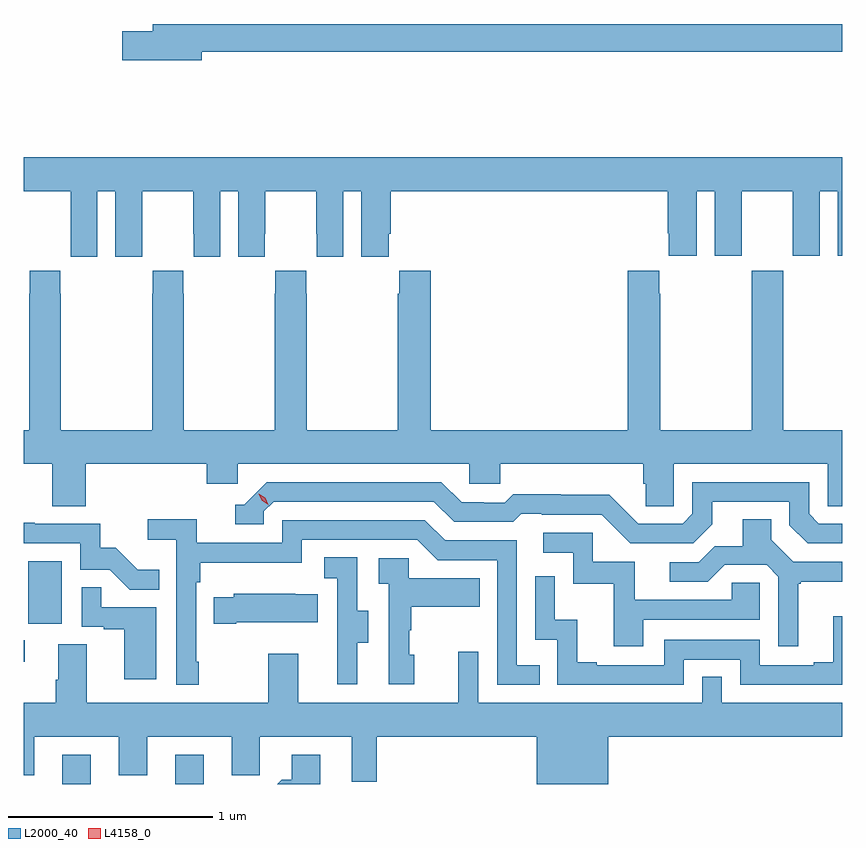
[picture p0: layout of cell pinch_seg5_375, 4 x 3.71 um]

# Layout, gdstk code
import gdstk
lib = gdstk.Library(unit=1e-6, precision=1e-09)
def R(c, l, rs):  # rectangles x0, y0, x1, y1
    for r in rs: c.add(gdstk.rectangle(r[:2], r[2:], *l))
def P(c, l, *ps):  # polygons
    for p in ps: c.add(gdstk.Polygon(p, *l))
L2000_40 = (2000, 40)
L4158_0 = (4158, 0)

pinch_seg5_375 = lib.new_cell('pinch_seg5_375')
R(pinch_seg5_375, L2000_40, [(995.543,877.84,995.683,877.984), (996.095,877.84,996.235,877.984), (995.355,878.436,995.362,878.541), (995.378,878.622,995.542,878.929)])
P(pinch_seg5_375, L2000_40, [(996.226,881.416),(999.355,881.416),(999.355,881.552),(995.987,881.552),(995.987,881.516),(995.838,881.516),(995.838,881.374),(996.226,881.374)],
  [(995.716,880.736),(995.804,880.736),(995.804,880.416),(995.934,880.416),(995.934,880.528),(995.935,880.528),(995.935,880.736),(996.185,880.736),(996.185,880.528),(996.186,880.528),(996.186,880.416),(996.316,880.416),(996.316,880.736),(996.404,880.736),(996.404,880.416),(996.534,880.416),(996.534,880.528),(996.535,880.528),(996.535,880.736),(996.785,880.736),(996.785,880.528),(996.786,880.528),(996.786,880.416),(996.916,880.416),(996.916,880.736),(997.004,880.736),(997.004,880.416),(997.138,880.416),(997.138,880.528),(997.148,880.528),(997.148,880.736),(998.501,880.736),(998.501,880.531),(998.507,880.531),(998.507,880.419),(998.644,880.419),(998.644,880.736),(998.732,880.736),(998.732,880.419),(998.863,880.419),(998.863,880.736),(999.113,880.736),(999.113,880.419),(999.244,880.419),(999.244,880.736),(999.332,880.736),(999.332,880.419),(999.355,880.419),(999.355,880.9),(995.355,880.9),(995.355,880.736),(995.585,880.736),(995.585,880.528),(995.586,880.528),(995.586,880.416),(995.716,880.416)],
  [(995.66,879.404),(996.251,879.404),(996.251,879.306),(996.402,879.306),(996.402,879.404),(997.533,879.404),(997.533,879.306),(997.683,879.306),(997.683,879.404),(998.381,879.404),(998.381,879.306),(998.395,879.306),(998.395,879.196),(998.532,879.196),(998.532,879.404),(999.282,879.404),(999.282,879.196),(999.355,879.196),(999.355,879.568),(999.066,879.568),(999.066,880.348),(998.911,880.348),(998.911,879.568),(998.466,879.568),(998.466,880.235),(998.461,880.235),(998.461,880.348),(998.306,880.348),(998.306,879.568),(997.343,879.568),(997.343,880.348),(997.189,880.348),(997.189,880.235),(997.183,880.235),(997.183,879.568),(996.738,879.568),(996.738,880.235),(996.735,880.235),(996.735,880.348),(996.585,880.348),(996.585,880.235),(996.583,880.235),(996.583,879.568),(996.138,879.568),(996.138,880.235),(996.135,880.235),(996.135,880.348),(995.985,880.348),(995.985,880.235),(995.983,880.235),(995.983,879.568),(995.538,879.568),(995.538,880.235),(995.535,880.235),(995.535,880.348),(995.385,880.348),(995.385,880.235),(995.383,880.235),(995.383,879.568),(995.355,879.568),(995.355,879.404),(995.495,879.404),(995.495,879.196),(995.66,879.196)],
  [(998.719,879.109),(998.719,879.219),(999.096,879.219),(999.096,879.105),(999.186,879.015),(999.355,879.015),(999.355,879.111),(999.24,879.111),(999.192,879.159),(999.192,879.315),(998.622,879.315),(998.622,879.159),(998.574,879.111),(998.358,879.111),(998.216,879.253),(997.98,879.253),(997.98,879.256),(997.747,879.256),(997.705,879.213),(997.602,879.213),(997.602,879.216),(997.495,879.216),(997.396,879.315),(996.543,879.315),(996.432,879.204),(996.389,879.204),(996.389,879.108),(996.528,879.108),(996.528,879.171),(996.576,879.219),(997.359,879.219),(997.458,879.12),(997.747,879.12),(997.786,879.159),(997.885,879.159),(997.885,879.156),(998.178,879.156),(998.319,879.015),(998.625,879.015)],
  [(996.211,878.437),(996.198,878.437),(996.198,878.825),(996.218,878.825),(996.218,878.921),(996.714,878.921),(996.714,879.033),(997.278,879.033),(997.377,878.934),(997.668,878.934),(997.668,878.325),(997.877,878.325),(997.877,878.421),(997.764,878.421),(997.764,879.03),(997.414,879.03),(997.315,879.129),(996.618,879.129),(996.618,879.018),(996.2,879.018),(996.2,879.134),(995.961,879.134),(995.961,879.032),(996.102,879.032),(996.102,878.325),(996.211,878.325)],
  [(999.139,878.817),(999.151,878.817),(999.151,878.828),(999.355,878.828),(999.355,878.925),(999.114,878.925),(999.007,879.032),(999.007,879.134),(998.867,879.134),(998.867,879.002),(998.732,879.002),(998.652,878.922),(998.511,878.922),(998.511,878.829),(998.698,878.829),(998.779,878.91),(998.985,878.91),(999.042,878.853),(999.042,878.514),(999.139,878.514)],
  [(996.017,878.887),(995.913,878.887),(995.806,878.994),(995.73,878.994),(995.73,879.111),(995.411,879.111),(995.411,879.116),(995.355,879.116),(995.355,879.015),(995.631,879.015),(995.631,878.886),(995.775,878.886),(995.873,878.788),(996.017,878.788)],
  [(998.383,878.643),(998.952,878.643),(998.952,878.823),(998.815,878.823),(998.815,878.739),(998.341,878.739),(998.341,878.925),(998.136,878.925),(998.136,879.066),(997.893,879.066),(997.893,878.97),(998.04,878.97),(998.04,878.817),(998.239,878.817),(998.239,878.514),(998.383,878.514)],
  [(996.985,878.53),(997.039,878.53),(997.039,878.685),(996.984,878.685),(996.984,878.948),(996.825,878.948),(996.825,878.845),(996.888,878.845),(996.888,878.541),(996.887,878.541),(996.887,878.328),(996.985,878.328)],
  [(997.264,878.472),(997.239,878.472),(997.239,878.591),(997.249,878.591),(997.249,878.705),(997.583,878.705),(997.583,878.845),(997.236,878.845),(997.236,878.943),(997.089,878.943),(997.089,878.819),(997.14,878.819),(997.14,878.328),(997.264,878.328)],
  [(998.58,878.448),(998.856,878.448),(998.856,878.325),(999.355,878.325),(999.355,878.659),(999.311,878.659),(999.311,878.434),(999.215,878.434),(999.215,878.421),(998.952,878.421),(998.952,878.544),(998.484,878.544),(998.484,878.421),(998.155,878.421),(998.155,878.434),(998.06,878.434),(998.06,878.642),(997.95,878.642),(997.95,878.854),(997.854,878.854),(997.854,878.544),(997.962,878.544),(997.962,878.325),(998.58,878.325)],
  [(996.004,878.703),(995.735,878.703),(995.735,878.801),(995.64,878.801),(995.64,878.607),(995.747,878.607),(995.747,878.595),(995.846,878.595),(995.846,878.352),(996.004,878.352)],
  [(996.394,878.63),(996.791,878.63),(996.791,878.767),(996.683,878.767),(996.683,878.77),(996.381,878.77),(996.381,878.752),(996.283,878.752),(996.283,878.623),(996.394,878.623)],
  [(995.665,878.522),(995.525,878.522),(995.525,878.348),(995.513,878.348),(995.513,878.236),(995.355,878.236),(995.355,877.882),(995.407,877.882),(995.407,878.072),(995.819,878.072),(995.819,877.882),(995.959,877.882),(995.959,878.072),(996.371,878.072),(996.371,877.882),(996.51,877.882),(996.51,878.072),(996.959,878.072),(996.959,877.851),(997.081,877.851),(997.081,878.072),(997.862,878.072),(997.862,877.84),(998.212,877.84),(998.212,878.072),(999.355,878.072),(999.355,878.236),(998.766,878.236),(998.766,878.363),(998.67,878.363),(998.67,878.236),(997.575,878.236),(997.575,878.485),(997.478,878.485),(997.478,878.236),(996.697,878.236),(996.697,878.476),(996.55,878.476),(996.55,878.236),(995.665,878.236)],
  [(996.805,877.984),(996.665,877.984),(996.665,877.861),(996.616,877.861),(996.595,877.84),(996.805,877.84)])
P(pinch_seg5_375, L4158_0, [(996.551,879.204),(996.52,879.224),(996.504,879.256),(996.504,879.257),(996.505,879.257),(996.535,879.237),(996.551,879.204),(996.551,879.204)])

lib.write_gds('pinch_seg5_375.gds')
